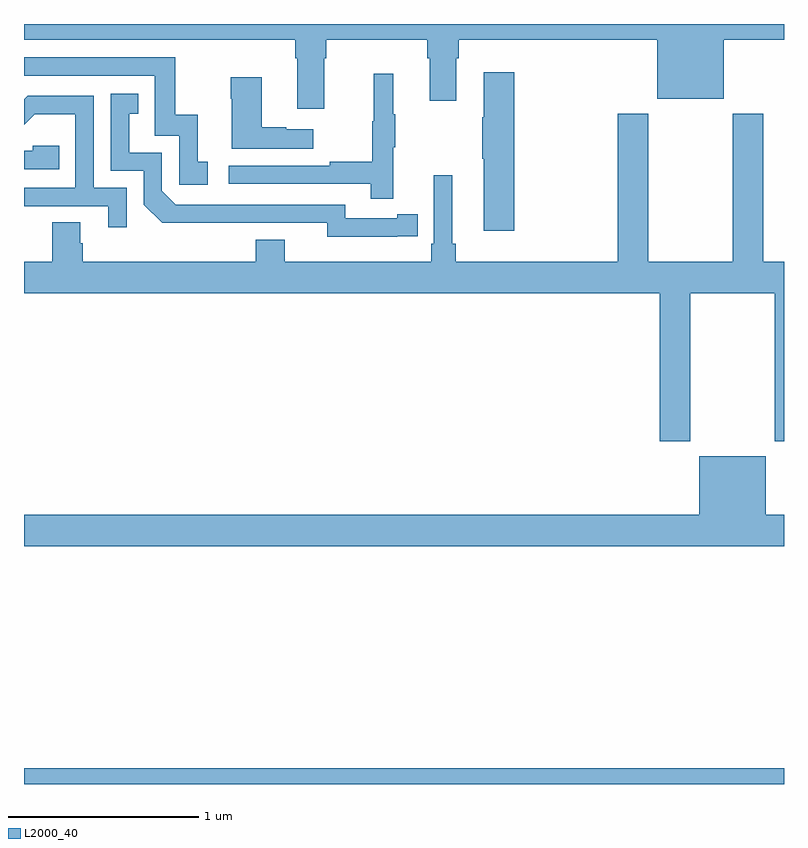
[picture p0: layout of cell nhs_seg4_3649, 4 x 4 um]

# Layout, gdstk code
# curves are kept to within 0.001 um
import gdstk
lib = gdstk.Library(unit=1e-6, precision=1e-09)
def R(c, l, rs):  # rectangles x0, y0, x1, y1
    for r in rs: c.add(gdstk.rectangle(r[:2], r[2:], *l))
def P(c, l, *ps):  # polygons
    for p in ps: c.add(gdstk.Polygon(p, *l))
L2000_40 = (2000, 40)

nhs_seg4_3649 = lib.new_cell('nhs_seg4_3649')
R(nhs_seg4_3649, L2000_40, [(303,796.9,307,796.984)])
P(nhs_seg4_3649, L2000_40, [(304.579,800.72),(304.592,800.72),(304.592,800.816),(305.123,800.816),(305.123,800.72),(305.135,800.72),(305.135,800.496),(305.275,800.496),(305.275,800.72),(305.288,800.72),(305.288,800.816),(306.332,800.816),(306.332,800.507),(306.682,800.507),(306.682,800.816),(307,800.816),(307,800.9),(303,800.9),(303,800.816),(304.427,800.816),(304.427,800.72),(304.439,800.72),(304.439,800.454),(304.579,800.454)],
  [(303.967,800.175),(303.914,800.175),(303.914,800.422),(303.796,800.422),(303.796,800.724),(303,800.724),(303,800.628),(303.687,800.628),(303.687,800.313),(303.816,800.313),(303.816,800.055),(303.967,800.055)],
  [(305.579,800.647),(305.42,800.647),(305.42,800.408),(305.413,800.408),(305.413,800.191),(305.42,800.191),(305.42,799.812),(305.579,799.812)],
  [(304.943,800.251),(304.954,800.251),(304.954,800.425),(304.943,800.425),(304.943,800.638),(304.84,800.638),(304.84,800.388),(304.833,800.388),(304.833,800.174),(304.609,800.174),(304.609,800.154),(304.077,800.154),(304.077,800.058),(304.825,800.058),(304.825,799.98),(304.943,799.98)],
  [(304.522,800.347),(304.379,800.347),(304.379,800.357),(304.252,800.357),(304.252,800.62),(304.087,800.62),(304.087,800.507),(304.094,800.507),(304.094,800.243),(304.522,800.243)],
  [(304.964,799.782),(305.072,799.782),(305.072,799.898),(304.964,799.898),(304.964,799.878),(304.692,799.878),(304.692,799.95),(303.798,799.95),(303.726,800.022),(303.726,800.223),(303.553,800.223),(303.553,800.427),(303.602,800.427),(303.602,800.533),(303.456,800.533),(303.456,800.127),(303.63,800.127),(303.63,799.95),(303.728,799.853),(304.596,799.854),(304.596,799.781)],
  [(303.54,800.037),(303.366,800.037),(303.366,800.523),(303.02,800.523),(303,800.503),(303,800.37),(303.056,800.426),(303.27,800.426),(303.27,800.037),(303,800.037),(303,799.941),(303.443,799.941),(303.443,799.83),(303.54,799.83)],
  [(306.507,799.484),(306.952,799.484),(306.952,798.705),(307,798.705),(307,799.648),(306.89,799.648),(306.89,800.428),(306.73,800.428),(306.73,799.648),(306.285,799.648),(306.285,800.428),(306.125,800.428),(306.125,799.648),(305.273,799.648),(305.273,799.744),(305.254,799.744),(305.254,800.104),(305.157,800.104),(305.157,799.744),(305.144,799.744),(305.144,799.648),(304.372,799.648),(304.372,799.765),(304.22,799.765),(304.22,799.648),(303.308,799.648),(303.308,799.746),(303.295,799.746),(303.295,799.856),(303.148,799.856),(303.148,799.648),(303,799.648),(303,799.484),(306.347,799.484),(306.347,798.705),(306.507,798.705)],
  [(303.185,800.259),(303.045,800.259),(303.045,800.232),(303,800.232),(303,800.136),(303.185,800.136)],
  [(307,798.316),(306.904,798.316),(306.904,798.625),(306.554,798.625),(306.554,798.316),(303,798.316),(303,798.152),(307,798.152)])

lib.write_gds('nhs_seg4_3649.gds')
